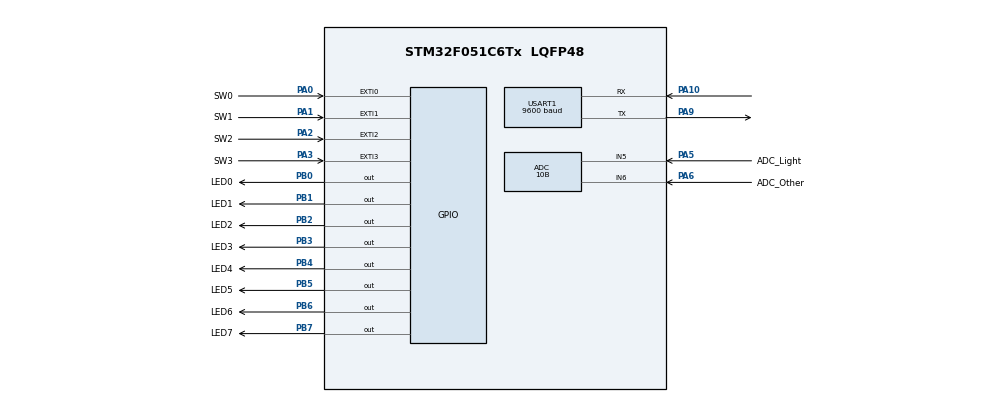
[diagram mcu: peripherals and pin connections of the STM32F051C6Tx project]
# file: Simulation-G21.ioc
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ADC.Resolution=ADC_RESOLUTION_10B
Mcu.Family=STM32F0
Mcu.Name=STM32F051C6Tx
Mcu.Package=LQFP48
NVIC.ADC1_COMP_IRQn=true\:0\:0\:false\:false\:true\:true
NVIC.EXTI0_1_IRQn=true\:0\:0\:false\:false\:true\:true
NVIC.EXTI2_3_IRQn=true\:0\:0\:false\:false\:true\:true
NVIC.USART1_IRQn=true\:0\:0\:false\:false\:true\:true
PA0.GPIO_Label=SW0
PA0.GPIO_ModeDefaultEXTI=GPIO_MODE_IT_FALLING
PA0.GPIO_PuPd=GPIO_PULLUP
PA0.Signal=GPXTI0
PA1.GPIO_Label=SW1
PA1.GPIO_ModeDefaultEXTI=GPIO_MODE_IT_FALLING
PA1.GPIO_PuPd=GPIO_PULLUP
PA1.Signal=GPXTI1
PA10.Mode=Asynchronous
PA10.Signal=USART1_RX
PA2.GPIO_Label=SW2
PA2.GPIO_ModeDefaultEXTI=GPIO_MODE_IT_FALLING
PA2.GPIO_PuPd=GPIO_PULLUP
PA2.Signal=GPXTI2
PA3.GPIO_Label=SW3
PA3.GPIO_ModeDefaultEXTI=GPIO_MODE_IT_FALLING
PA3.GPIO_PuPd=GPIO_PULLUP
PA3.Signal=GPXTI3
PA5.GPIO_Label=ADC_Light
PA5.Mode=IN5
PA5.Signal=ADC_IN5
PA6.GPIO_Label=ADC_Other
PA6.Mode=IN6
PA6.Signal=ADC_IN6
PA9.Mode=Asynchronous
PA9.Signal=USART1_TX
PB0.GPIO_Label=LED0
PB0.Signal=GPIO_Output
PB1.GPIO_Label=LED1
PB1.Signal=GPIO_Output
PB2.GPIO_Label=LED2
PB2.Signal=GPIO_Output
PB3.GPIO_Label=LED3
PB3.Signal=GPIO_Output
PB4.GPIO_Label=LED4
PB4.Signal=GPIO_Output
PB5.GPIO_Label=LED5
PB5.Signal=GPIO_Output
PB6.GPIO_Label=LED6
PB6.Signal=GPIO_Output
PB7.GPIO_Label=LED7
PB7.Signal=GPIO_Output
ProjectManager.HeapSize=0x200
ProjectManager.StackSize=0x400
ProjectManager.TargetToolchain=SW4STM32
RTC.Date=5
RTC.Month=RTC_MONTH_MAY
RTC.WeekDay=RTC_WEEKDAY_FRIDAY
RTC.Year=18
USART1.BaudRate=9600
USART1.VirtualMode-Asynchronous=VM_ASYNC
VP_RTC_VS_RTC_Activate.Mode=RTC_Enabled
VP_RTC_VS_RTC_Calendar.Mode=RTC_Calendar
board=Simulation-G21

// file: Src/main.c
/**
  ******************************************************************************
  * @file           : main.c
  * @brief          : Main program body
  ******************************************************************************
  ** This notice applies to any and all portions of this file
  * that are not between comment pairs USER CODE BEGIN and
  * USER CODE END. Other portions of this file, whether
  * inserted by the user or by software development tools
  * are owned by their respective copyright owners.
  *
  * COPYRIGHT(c) 2018 STMicroelectronics
  *
  * Redistribution and use in source and binary forms, with or without modification,
  * are permitted provided that the following conditions are met:
  *   1. Redistributions of source code must retain the above copyright notice,
  *      this list of conditions and the following disclaimer.
  *   2. Redistributions in binary form must reproduce the above copyright notice,
  *      this list of conditions and the following disclaimer in the documentation
  *      and/or other materials provided with the distribution.
  *   3. Neither the name of STMicroelectronics nor the names of its contributors
  *      may be used to endorse or promote products derived from this software
  *      without specific prior written permission.
  *
  * THIS SOFTWARE IS PROVIDED BY THE COPYRIGHT HOLDERS AND CONTRIBUTORS "AS IS"
  * AND ANY EXPRESS OR IMPLIED WARRANTIES, INCLUDING, BUT NOT LIMITED TO, THE
  * IMPLIED WARRANTIES OF MERCHANTABILITY AND FITNESS FOR A PARTICULAR PURPOSE ARE
  * DISCLAIMED. IN NO EVENT SHALL THE COPYRIGHT HOLDER OR CONTRIBUTORS BE LIABLE
  * FOR ANY DIRECT, INDIRECT, INCIDENTAL, SPECIAL, EXEMPLARY, OR CONSEQUENTIAL
  * DAMAGES (INCLUDING, BUT NOT LIMITED TO, PROCUREMENT OF SUBSTITUTE GOODS OR
  * SERVICES; LOSS OF USE, DATA, OR PROFITS; OR BUSINESS INTERRUPTION) HOWEVER
  * CAUSED AND ON ANY THEORY OF LIABILITY, WHETHER IN CONTRACT, STRICT LIABILITY,
  * OR TORT (INCLUDING NEGLIGENCE OR OTHERWISE) ARISING IN ANY WAY OUT OF THE USE
  * OF THIS SOFTWARE, EVEN IF ADVISED OF THE POSSIBILITY OF SUCH DAMAGE.
  *
  ******************************************************************************
  */
#include "main.h"
#include "stm32f0xx_hal.h"

/* USER CODE BEGIN Includes */

char hour = 0;
char min = 0;
// 0:monday - 6:sunday
char dayOfWeek = 0;

/* USER CODE END Includes */

ADC_HandleTypeDef hadc;

RTC_HandleTypeDef hrtc;

UART_HandleTypeDef huart1;

/* USER CODE BEGIN PV */
/* Private variables ---------------------------------------------------------*/

/* USER CODE END PV */

void SystemClock_Config(void);
static void MX_GPIO_Init(void);
static void MX_ADC_Init(void);
static void MX_RTC_Init(void);
static void MX_USART1_UART_Init(void);

/* USER CODE BEGIN PFP */
/* Private function prototypes -----------------------------------------------*/

/* USER CODE END PFP */

/* USER CODE BEGIN 0 */

int readADC(){
	HAL_ADC_Start(&hadc);
	HAL_ADC_PollForConversion(&hadc,1000);
	int value = HAL_ADC_GetValue(&hadc);
	HAL_ADC_Stop(&hadc);

	return value;
}

void updateRTC(char Hour, char Min, char Day){
	if(Hour!=255){
		hour = Hour;
	}
	if(Min!=255){
		min = Min;
	}
	if(Day!=255){
		dayOfWeek = Day;
	}
}

int updateLight(){
	//check that its a week day
	if(dayOfWeek<5){
		//check that time between 5am and 9pm
		if(hour>=5 && hour<21){
			//check light levels
			int lightLevel = readADC();
			if(lightLevel<120){
				HAL_GPIO_WritePin(LED7_GPIO_Port,LED7_Pin, GPIO_PIN_SET);
				return 1;
			}
		}

	}
	HAL_GPIO_WritePin(LED7_GPIO_Port,LED7_Pin, GPIO_PIN_RESET);
	return 0;
}

/* USER CODE END 0 */

int main(void)
{

  /* MCU Configuration----------------------------------------------------------*/

  /* Reset of all peripherals, Initializes the Flash interface and the Systick. */
  HAL_Init();

  /* Configure the system clock */
  SystemClock_Config();

  /* Initialize all configured peripherals */
  MX_GPIO_Init();
  MX_ADC_Init();
  MX_RTC_Init();
  MX_USART1_UART_Init();

  /* USER CODE BEGIN 2 */
  //Update display status
  HAL_GPIO_WritePin(LED0_GPIO_Port,LED0_Pin,GPIO_PIN_SET);
  HAL_GPIO_WritePin(LED1_GPIO_Port,LED1_Pin,GPIO_PIN_RESET);
  HAL_GPIO_WritePin(LED2_GPIO_Port,LED2_Pin,GPIO_PIN_RESET);

  //set time between 0h00 and 5h00
  updateRTC(3,0,255);

  /* USER CODE END 2 */

  /* Infinite loop */
  while (1)
  {
	  updateLight();
  }

}

void SystemClock_Config(void)
{

  RCC_OscInitTypeDef RCC_OscInitStruct;
  RCC_ClkInitTypeDef RCC_ClkInitStruct;
  RCC_PeriphCLKInitTypeDef PeriphClkInit;

    /**Initializes the CPU, AHB and APB busses clocks
    */
  RCC_OscInitStruct.OscillatorType = RCC_OSCILLATORTYPE_HSI|RCC_OSCILLATORTYPE_HSI14
                              |RCC_OSCILLATORTYPE_LSI;
  RCC_OscInitStruct.HSIState = RCC_HSI_ON;
  RCC_OscInitStruct.HSI14State = RCC_HSI14_ON;
  RCC_OscInitStruct.HSICalibrationValue = 16;
  RCC_OscInitStruct.HSI14CalibrationValue = 16;
  RCC_OscInitStruct.LSIState = RCC_LSI_ON;
  RCC_OscInitStruct.PLL.PLLState = RCC_PLL_NONE;
  if (HAL_RCC_OscConfig(&RCC_OscInitStruct) != HAL_OK)
  {
    _Error_Handler(__FILE__, __LINE__);
  }

    /**Initializes the CPU, AHB and APB busses clocks
    */
  RCC_ClkInitStruct.ClockType = RCC_CLOCKTYPE_HCLK|RCC_CLOCKTYPE_SYSCLK
                              |RCC_CLOCKTYPE_PCLK1;
  RCC_ClkInitStruct.SYSCLKSource = RCC_SYSCLKSOURCE_HSI;
  RCC_ClkInitStruct.AHBCLKDivider = RCC_SYSCLK_DIV1;
  RCC_ClkInitStruct.APB1CLKDivider = RCC_HCLK_DIV1;

  if (HAL_RCC_ClockConfig(&RCC_ClkInitStruct, FLASH_LATENCY_0) != HAL_OK)
  {
    _Error_Handler(__FILE__, __LINE__);
  }

  PeriphClkInit.PeriphClockSelection = RCC_PERIPHCLK_USART1|RCC_PERIPHCLK_RTC;
  PeriphClkInit.Usart1ClockSelection = RCC_USART1CLKSOURCE_PCLK1;
  PeriphClkInit.RTCClockSelection = RCC_RTCCLKSOURCE_LSI;
  if (HAL_RCCEx_PeriphCLKConfig(&PeriphClkInit) != HAL_OK)
  {
    _Error_Handler(__FILE__, __LINE__);
  }

    /**Configure the Systick interrupt time
    */
  HAL_SYSTICK_Config(HAL_RCC_GetHCLKFreq()/1000);

    /**Configure the Systick
    */
  HAL_SYSTICK_CLKSourceConfig(SYSTICK_CLKSOURCE_HCLK);

  /* SysTick_IRQn interrupt configuration */
  HAL_NVIC_SetPriority(SysTick_IRQn, 0, 0);
}

/* ADC init function */
static void MX_ADC_Init(void)
{

  ADC_ChannelConfTypeDef sConfig;

    /**Configure the global features of the ADC (Clock, Resolution, Data Alignment and number of conversion)
    */
  hadc.Instance = ADC1;
  hadc.Init.ClockPrescaler = ADC_CLOCK_ASYNC_DIV1;
  hadc.Init.Resolution = ADC_RESOLUTION_8B;
  hadc.Init.DataAlign = ADC_DATAALIGN_RIGHT;
  hadc.Init.ScanConvMode = ADC_SCAN_DIRECTION_FORWARD;
  hadc.Init.EOCSelection = ADC_EOC_SINGLE_CONV;
  hadc.Init.LowPowerAutoWait = DISABLE;
  hadc.Init.LowPowerAutoPowerOff = DISABLE;
  hadc.Init.ContinuousConvMode = DISABLE;
  hadc.Init.DiscontinuousConvMode = DISABLE;
  hadc.Init.ExternalTrigConv = ADC_SOFTWARE_START;
  hadc.Init.ExternalTrigConvEdge = ADC_EXTERNALTRIGCONVEDGE_NONE;
  hadc.Init.DMAContinuousRequests = DISABLE;
  hadc.Init.Overrun = ADC_OVR_DATA_PRESERVED;
  if (HAL_ADC_Init(&hadc) != HAL_OK)
  {
    _Error_Handler(__FILE__, __LINE__);
  }

    /**Configure for the selected ADC regular channel to be converted.
    */
  sConfig.Channel = ADC_CHANNEL_5;
  sConfig.Rank = ADC_RANK_CHANNEL_NUMBER;
  sConfig.SamplingTime = ADC_SAMPLETIME_1CYCLE_5;
  if (HAL_ADC_ConfigChannel(&hadc, &sConfig) != HAL_OK)
  {
    _Error_Handler(__FILE__, __LINE__);
  }

    /**Configure for the selected ADC regular channel to be converted.
    */
  sConfig.Channel = ADC_CHANNEL_6;
  if (HAL_ADC_ConfigChannel(&hadc, &sConfig) != HAL_OK)
  {
    _Error_Handler(__FILE__, __LINE__);
  }

}

/* RTC init function */
static void MX_RTC_Init(void)
{

  RTC_TimeTypeDef sTime;
  RTC_DateTypeDef sDate;

    /**Initialize RTC Only
    */
  hrtc.Instance = RTC;
if(HAL_RTCEx_BKUPRead(&hrtc, RTC_BKP_DR0) != 0x32F2){
  hrtc.Init.HourFormat = RTC_HOURFORMAT_24;
  hrtc.Init.AsynchPrediv = 127;
  hrtc.Init.SynchPrediv = 255;
  hrtc.Init.OutPut = RTC_OUTPUT_DISABLE;
  hrtc.Init.OutPutPolarity = RTC_OUTPUT_POLARITY_HIGH;
  hrtc.Init.OutPutType = RTC_OUTPUT_TYPE_OPENDRAIN;
  if (HAL_RTC_Init(&hrtc) != HAL_OK)
  {
    _Error_Handler(__FILE__, __LINE__);
  }

    /**Initialize RTC and set the Time and Date
    */
  sTime.Hours = 0x0;
  sTime.Minutes = 0x0;
  sTime.Seconds = 0x0;
  sTime.DayLightSaving = RTC_DAYLIGHTSAVING_NONE;
  sTime.StoreOperation = RTC_STOREOPERATION_RESET;
  if (HAL_RTC_SetTime(&hrtc, &sTime, RTC_FORMAT_BCD) != HAL_OK)
  {
    _Error_Handler(__FILE__, __LINE__);
  }

  sDate.WeekDay = RTC_WEEKDAY_FRIDAY;
  sDate.Month = RTC_MONTH_MAY;
  sDate.Date = 5;
  sDate.Year = 18;

  if (HAL_RTC_SetDate(&hrtc, &sDate, RTC_FORMAT_BCD) != HAL_OK)
  {
    _Error_Handler(__FILE__, __LINE__);
  }

    HAL_RTCEx_BKUPWrite(&hrtc,RTC_BKP_DR0,0x32F2);
  }

}

/* USART1 init function */
static void MX_USART1_UART_Init(void)
{

  huart1.Instance = USART1;
  huart1.Init.BaudRate = 9600;
  huart1.Init.WordLength = UART_WORDLENGTH_8B;
  huart1.Init.StopBits = UART_STOPBITS_1;
  huart1.Init.Parity = UART_PARITY_NONE;
  huart1.Init.Mode = UART_MODE_TX_RX;
  huart1.Init.HwFlowCtl = UART_HWCONTROL_NONE;
  huart1.Init.OverSampling = UART_OVERSAMPLING_16;
  huart1.Init.OneBitSampling = UART_ONE_BIT_SAMPLE_DISABLE;
  huart1.AdvancedInit.AdvFeatureInit = UART_ADVFEATURE_NO_INIT;
  if (HAL_UART_Init(&huart1) != HAL_OK)
  {
    _Error_Handler(__FILE__, __LINE__);
  }

}

/** Configure pins as
        * Analog
        * Input
        * Output
        * EVENT_OUT
        * EXTI
*/
static void MX_GPIO_Init(void)
{

  GPIO_InitTypeDef GPIO_InitStruct;

  /* GPIO Ports Clock Enable */
  __HAL_RCC_GPIOA_CLK_ENABLE();
  __HAL_RCC_GPIOB_CLK_ENABLE();

  /*Configure GPIO pin Output Level */
  HAL_GPIO_WritePin(GPIOB, LED0_Pin|LED1_Pin|LED2_Pin|LED3_Pin
                          |LED4_Pin|LED5_Pin|LED6_Pin|LED7_Pin, GPIO_PIN_RESET);

  /*Configure GPIO pins : SW0_Pin SW1_Pin SW2_Pin SW3_Pin */
  GPIO_InitStruct.Pin = SW0_Pin|SW1_Pin|SW2_Pin|SW3_Pin;
  GPIO_InitStruct.Mode = GPIO_MODE_IT_FALLING;
  GPIO_InitStruct.Pull = GPIO_PULLUP;
  HAL_GPIO_Init(GPIOA, &GPIO_InitStruct);

  /*Configure GPIO pins : LED0_Pin LED1_Pin LED2_Pin LED3_Pin
                           LED4_Pin LED5_Pin LED6_Pin LED7_Pin */
  GPIO_InitStruct.Pin = LED0_Pin|LED1_Pin|LED2_Pin|LED3_Pin
                          |LED4_Pin|LED5_Pin|LED6_Pin|LED7_Pin;
  GPIO_InitStruct.Mode = GPIO_MODE_OUTPUT_PP;
  GPIO_InitStruct.Pull = GPIO_NOPULL;
  GPIO_InitStruct.Speed = GPIO_SPEED_FREQ_LOW;
  HAL_GPIO_Init(GPIOB, &GPIO_InitStruct);

  /* EXTI interrupt init*/
  HAL_NVIC_SetPriority(EXTI0_1_IRQn, 0, 0);
  HAL_NVIC_EnableIRQ(EXTI0_1_IRQn);

  HAL_NVIC_SetPriority(EXTI2_3_IRQn, 0, 0);
  HAL_NVIC_EnableIRQ(EXTI2_3_IRQn);

}

void _Error_Handler(char *file, int line)
{
  while(1)
  {
  }
}

/************************ (C) COPYRIGHT STMicroelectronics *****END OF FILE****/
